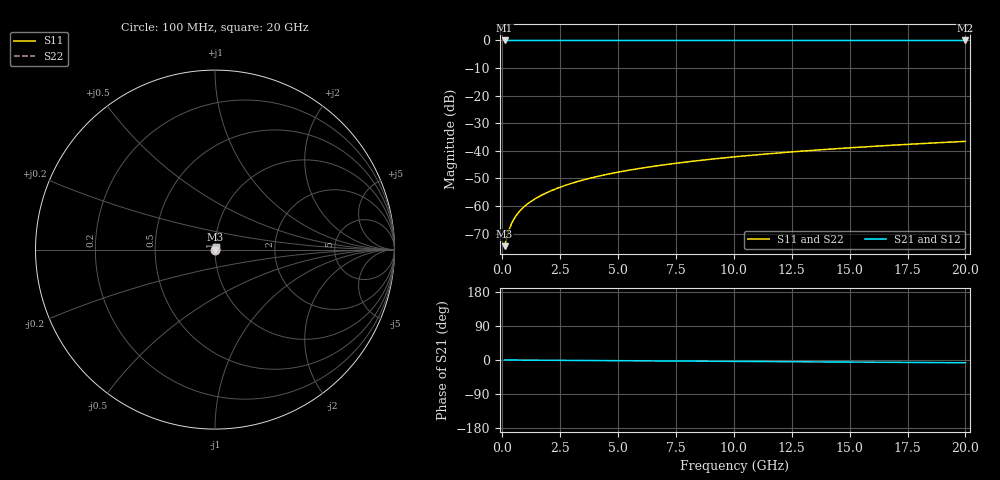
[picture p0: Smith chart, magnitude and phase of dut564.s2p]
! Touchstone file exported from HFSS 2026.1.0
!  File:  C:/ffzhzh/LocalFiles/Ansys_Project_Files/temp_train_TSV_564_1783024560_46388.aedt
!  Generated:  04:38:00 AM Jul  3, 2026
!  Design:  TSV
!  Project:  temp_train_TSV_564_1783024560_46388
! Variables:
!  h_bsmrdl = 2um
!  h_ox = 20um
!  h_rdl = 5um
!  h_sub = 71.72um
!  h_tmrdl = 5um
!  h_tsv = 71.72um
!  h_via = 3um
!  l_bsmrdl = 300um
!  l_sub = 417.2um
!  l_tmrdl = 200um
!  m_sub = 200um
!  pitch = 39.7um
!  r_tsv = 8.6um
!  s_tmrdl = 10um
!  w_bsmrdl = 18um
!  w_sub = 500um
!  w_tmrdl = 12um
!  x_tsv_center1 = 206um
!  x_tsv_center2 = 524um
!  x_tsv_center3 = 736um
!  x_tsv_center4 = 1054um
!  x_tsv_center5 = 1266um
!  x_tsv_center6 = 1584um
# GHz S MA R 50.000000
! Terminal data exported
! Port[1] = TSV1_1_T1
! Port[2] = TSV1_1_T2
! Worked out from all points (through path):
!   200 points, 100 MHz to 20 GHz, reference 50 ohm
!   highest |S21| = 0.00 dB at 100 MHz (marker M1); lowest = 0.0 dB at 20 GHz (marker M2)
!   group delay of S21, straight-line fit = 1.01 ps
!   lowest |S11| = -74.5 dB at 100 MHz (marker M3), VSWR 1.00, Z = 50 + j0.0115 ohm
!   |S11| at or under -10 dB: start of sweep to end of sweep
!   |S22| runs from -74.5 to -36.6 dB; largest |S21 - S12| = 2.3e-15
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0.1  0.0001875 37.8  0.9999 -0.0  0.9999 -0.0  0.0001875 37.8
! Gamma 0 0 0 0
! Port Impedance 50 0 50 0
0.2  0.0002774 55.0  0.9998 -0.1  0.9998 -0.1  0.0002774 55.0
0.3  0.0003786 62.3  0.9998 -0.1  0.9998 -0.1  0.0003786 62.3
0.4  0.00048 65.9  0.9998 -0.2  0.9998 -0.2  0.00048 65.9
0.5  0.0005784 67.8  0.9998 -0.2  0.9998 -0.2  0.0005784 67.8
0.6  0.0006729 69.0  0.9998 -0.2  0.9998 -0.2  0.0006729 69.0
0.7  0.0007637 69.8  0.9997 -0.3  0.9997 -0.3  0.0007637 69.8
0.8  0.0008512 70.5  0.9997 -0.3  0.9997 -0.3  0.0008512 70.5
1  0.001019 71.6  0.9997 -0.4  0.9997 -0.4  0.001019 71.6
1.4  0.001339 73.5  0.9996 -0.5  0.9996 -0.5  0.001339 73.5
1.7  0.001575 74.6  0.9996 -0.6  0.9996 -0.6  0.001575 74.6
2  0.001809 75.6  0.9996 -0.7  0.9996 -0.7  0.001809 75.6
2.7  0.002353 77.1  0.9995 -1.0  0.9995 -1.0  0.002353 77.1
3.5  0.002971 78.1  0.9994 -1.3  0.9994 -1.3  0.002971 78.1
4.2  0.003506 78.6  0.9994 -1.5  0.9994 -1.5  0.003506 78.6
5  0.00411 79.0  0.9993 -1.8  0.9993 -1.8  0.00411 79.0
6.8  0.005445 79.4  0.9992 -2.5  0.9992 -2.5  0.005445 79.4
8.3  0.00654 79.5  0.9991 -3.0  0.9991 -3.0  0.00654 79.5
10.1  0.007842 79.5  0.999 -3.7  0.999 -3.7  0.007842 79.5
13.4  0.01021 79.1  0.9989 -4.9  0.9989 -4.9  0.01021 79.1
16.7  0.01255 78.4  0.9987 -6.1  0.9987 -6.1  0.01255 78.4
20  0.01485 77.6  0.9986 -7.3  0.9986 -7.3  0.01485 77.6
